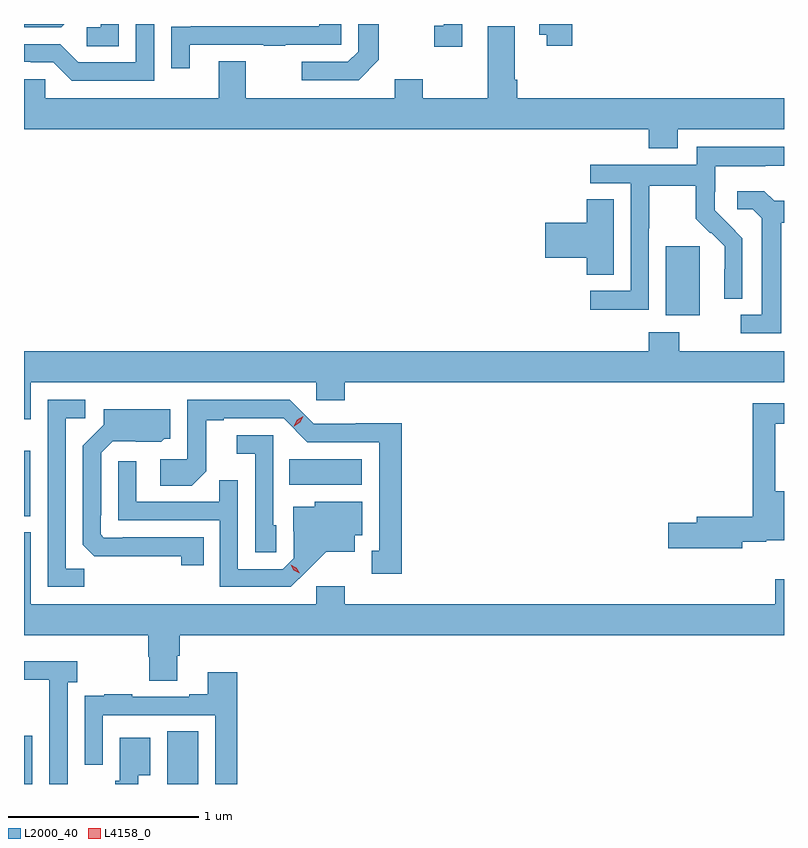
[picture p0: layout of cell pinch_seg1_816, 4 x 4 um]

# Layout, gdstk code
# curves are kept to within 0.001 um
import gdstk
lib = gdstk.Library(unit=1e-6, precision=1e-09)
def R(c, l, rs):  # rectangles x0, y0, x1, y1
    for r in rs: c.add(gdstk.rectangle(r[:2], r[2:], *l))
def P(c, l, *ps):  # polygons
    for p in ps: c.add(gdstk.Polygon(p, *l))
L2000_40 = (2000, 40)
L4158_0 = (4158, 0)

pinch_seg1_816 = lib.new_cell('pinch_seg1_816')
R(pinch_seg1_816, L2000_40, [(480.737,569.598,480.781,569.851), (481.49,569.598,481.654,569.876), (480.737,571.007,480.769,571.351), (482.134,571.172,482.515,571.306), (484.115,572.066,484.294,572.427)])
P(pinch_seg1_816, L2000_40, [(480.95,573.598),(480.737,573.598),(480.737,573.582),(480.934,573.582)],
  [(481.422,573.598),(481.326,573.598),(481.326,573.396),(481.023,573.396),(480.927,573.492),(480.737,573.492),(480.737,573.399),(480.773,573.399),(480.773,573.396),(480.891,573.396),(480.987,573.3),(481.422,573.3)],
  [(482.605,573.409),(482.605,573.598),(482.496,573.598),(482.496,573.453),(482.442,573.399),(482.199,573.399),(482.199,573.303),(482.499,573.303)],
  [(483.623,573.598),(483.448,573.598),(483.448,573.542),(483.488,573.542),(483.488,573.483),(483.623,573.483)],
  [(481.609,573.489),(481.999,573.489),(481.999,573.484),(482.111,573.484),(482.111,573.489),(482.406,573.489),(482.406,573.598),(482.29,573.598),(482.29,573.585),(481.615,573.585),(481.615,573.584),(481.513,573.584),(481.513,573.366),(481.609,573.366)],
  [(481.236,573.598),(481.14,573.598),(481.14,573.582),(481.068,573.582),(481.068,573.481),(481.236,573.481)],
  [(483.043,573.598),(482.946,573.598),(482.946,573.59),(482.895,573.59),(482.895,573.477),(483.043,573.477)],
  [(484.177,573.044),(484.737,573.044),(484.737,573.208),(483.332,573.208),(483.332,573.304),(483.319,573.304),(483.319,573.586),(483.179,573.586),(483.179,573.208),(482.835,573.208),(482.835,573.307),(482.687,573.307),(482.687,573.208),(481.903,573.208),(481.903,573.403),(481.763,573.403),(481.763,573.208),(480.849,573.208),(480.849,573.306),(480.737,573.306),(480.737,573.044),(484.025,573.044),(484.025,572.945),(484.177,572.945)],
  [(484.026,572.524),(484.029,572.524),(484.029,572.748),(484.273,572.748),(484.273,572.573),(484.35,572.496),(484.353,572.499),(484.424,572.429),(484.424,572.306),(484.422,572.306),(484.422,572.152),(484.518,572.152),(484.518,572.47),(484.372,572.618),(484.372,572.715),(484.374,572.715),(484.374,572.849),(484.637,572.849),(484.637,572.853),(484.737,572.853),(484.737,572.953),(484.278,572.953),(484.278,572.856),(483.717,572.856),(483.717,572.76),(483.93,572.76),(483.93,572.193),(483.717,572.193),(483.717,572.095),(484.026,572.095)],
  [(484.723,572.552),(484.737,572.552),(484.737,572.667),(484.686,572.667),(484.634,572.719),(484.491,572.719),(484.491,572.622),(484.572,572.622),(484.619,572.575),(484.619,572.067),(484.509,572.067),(484.509,571.971),(484.723,571.971)],
  [(483.841,572.675),(483.698,572.675),(483.698,572.552),(483.48,572.552),(483.48,572.369),(483.698,572.369),(483.698,572.278),(483.841,572.278)],
  [(480.772,571.712),(482.274,571.712),(482.274,571.619),(482.426,571.619),(482.426,571.712),(484.737,571.712),(484.737,571.876),(484.185,571.876),(484.185,571.975),(484.025,571.975),(484.025,571.876),(480.737,571.876),(480.737,571.518),(480.772,571.518)],
  [(481.053,570.731),(480.957,570.731),(480.957,571.524),(481.06,571.524),(481.06,571.62),(480.861,571.62),(480.861,570.636),(481.053,570.636)],
  [(482.725,571.496),(482.484,571.496),(482.484,571.494),(482.262,571.494),(482.136,571.62),(481.596,571.62),(481.596,571.308),(481.455,571.308),(481.455,571.168),(481.619,571.168),(481.695,571.244),(481.695,571.512),(481.789,571.512),(481.789,571.524),(482.103,571.524),(482.229,571.398),(482.606,571.398),(482.606,570.825),(482.567,570.825),(482.567,570.705),(482.725,570.705)],
  [(484.516,570.874),(484.644,570.874),(484.644,570.881),(484.737,570.881),(484.737,571.138),(484.691,571.138),(484.691,571.494),(484.737,571.494),(484.737,571.602),(484.573,571.602),(484.573,571.004),(484.277,571.004),(484.277,570.974),(484.128,570.974),(484.128,570.839),(484.516,570.839)],
  [(481.682,570.897),(481.258,570.897),(481.258,570.894),(481.158,570.894),(481.14,570.912),(481.14,571.012),(481.143,571.012),(481.143,571.341),(481.203,571.401),(481.46,571.4),(481.476,571.416),(481.507,571.416),(481.507,571.57),(481.157,571.57),(481.157,571.488),(481.047,571.378),(481.047,570.856),(481.106,570.797),(481.564,570.796),(481.564,570.75),(481.682,570.75)],
  [(482.064,570.96),(482.049,570.96),(482.049,571.434),(481.857,571.434),(481.857,571.337),(481.953,571.337),(481.953,570.817),(482.064,570.817)],
  [(482.224,570.719),(482.327,570.821),(482.479,570.821),(482.479,570.908),(482.518,570.908),(482.518,571.084),(482.268,571.084),(482.268,571.057),(482.153,571.057),(482.153,570.928),(482.157,570.928),(482.157,570.786),(482.1,570.729),(481.863,570.729),(481.863,571.196),(481.765,571.196),(481.765,571.083),(481.329,571.083),(481.329,571.297),(481.233,571.297),(481.233,570.987),(481.767,570.987),(481.767,570.636),(482.14,570.636)],
  [(481.543,570.274),(481.556,570.274),(481.556,570.38),(484.737,570.38),(484.737,570.676),(484.691,570.676),(484.691,570.544),(482.426,570.544),(482.426,570.64),(482.274,570.64),(482.274,570.544),(480.772,570.544),(480.772,570.922),(480.737,570.922),(480.737,570.38),(481.391,570.38),(481.391,570.267),(481.396,570.267),(481.396,570.142),(481.543,570.142)],
  [(480.966,570.134),(481.018,570.134),(481.018,570.244),(480.737,570.244),(480.737,570.147),(480.869,570.147),(480.869,569.947),(480.87,569.947),(480.87,569.598),(480.966,569.598)],
  [(481.859,570.187),(481.703,570.187),(481.703,570.07),(481.607,570.07),(481.607,570.057),(481.307,570.057),(481.307,570.07),(481.159,570.07),(481.159,570.063),(481.057,570.063),(481.057,569.954),(481.056,569.954),(481.056,569.7),(481.152,569.7),(481.152,569.961),(481.743,569.961),(481.743,569.598),(481.859,569.598)],
  [(481.339,569.645),(481.402,569.645),(481.402,569.842),(481.241,569.842),(481.241,569.616),(481.217,569.616),(481.217,569.598),(481.339,569.598)])
P(pinch_seg1_816, L4158_0, [(482.188,570.707),(482.157,570.722),(482.14,570.752),(482.14,570.752),(482.14,570.752),(482.171,570.737),(482.188,570.707),(482.188,570.707)],
  [(482.158,571.482),(482.158,571.482),(482.175,571.515),(482.207,571.534),(482.207,571.534),(482.207,571.534),(482.19,571.502),(482.159,571.482)])

lib.write_gds('pinch_seg1_816.gds')
